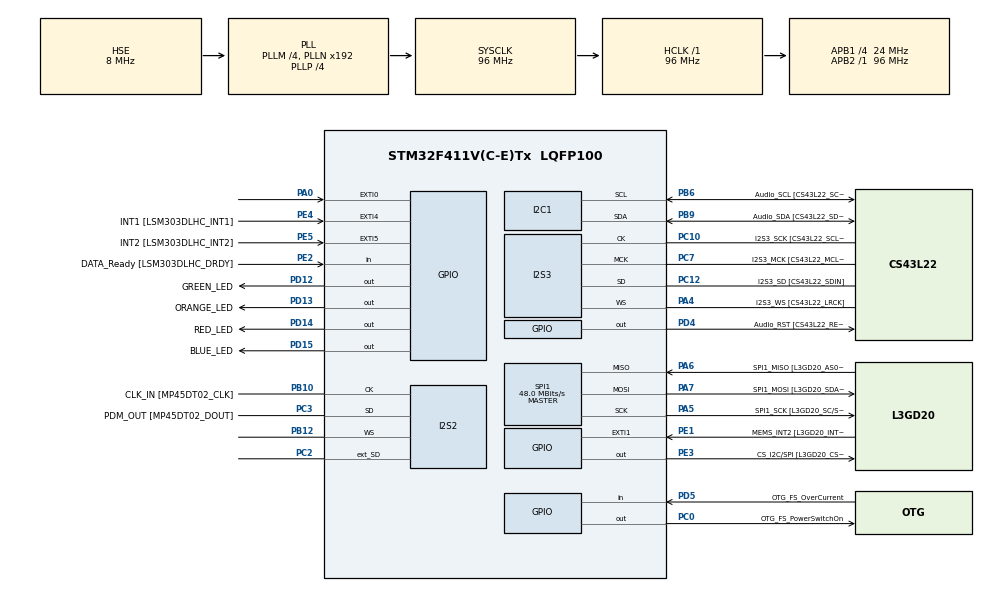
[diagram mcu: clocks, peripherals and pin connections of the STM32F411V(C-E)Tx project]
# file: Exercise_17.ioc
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FREERTOS.BinarySemaphores01=SyncSemaphore_EF,Dynamic,NULL;SyncSema_EF_0,Dynamic,NULL;SyncSema_EF_1,Dynamic,NULL
FREERTOS.Tasks01=GREEN_LED,0,128,Start_GREEN_LED,Default,NULL,Dynamic,NULL,NULL;RED_LED,0,128,Start_RED_LED,Default,NULL,Dynamic,NULL,NULL;BLUE_LED,0,128,Start_BLUE_LED,Default,NULL,Dynamic,NULL,NULL
I2S2.AudioFreq=I2S_AUDIOFREQ_96K
I2S2.ErrorAudioFreq=0.15 %
I2S2.FullDuplexMode=I2S_FULLDUPLEXMODE_ENABLE
I2S2.Instance=SPI$Index
I2S2.RealAudioFreq=96.153 KHz
I2S2.VirtualMode=I2S_MODE_MASTER
I2S3.AudioFreq=I2S_AUDIOFREQ_96K
I2S3.ErrorAudioFreq=-6.99 %
I2S3.FullDuplexMode=I2S_FULLDUPLEXMODE_DISABLE
I2S3.Instance=SPI$Index
I2S3.RealAudioFreq=89.285 KHz
I2S3.VirtualMode=I2S_MODE_MASTER
Mcu.Family=STM32F4
Mcu.Name=STM32F411V(C-E)Tx
Mcu.Package=LQFP100
NVIC.PriorityGroup=NVIC_PRIORITYGROUP_4
NVIC.TIM1_UP_TIM10_IRQn=true\:0\:0\:false\:false\:true\:false\:false\:true
NVIC.TimeBase=TIM1_UP_TIM10_IRQn
NVIC.TimeBaseIP=TIM1
PA0-WKUP.GPIO_ModeDefaultEXTI=GPIO_MODE_EVT_RISING
PA0-WKUP.Signal=GPXTI0
PA10.GPIO_Label=OTG_FS_ID
PA10.Signal=USB_OTG_FS_ID
PA11.GPIO_Label=OTG_FS_DM
PA11.Signal=USB_OTG_FS_DM
PA12.GPIO_Label=OTG_FS_DP
PA12.Signal=USB_OTG_FS_DP
PA13.GPIO_Label=SWDIO
PA13.Mode=Serial_Wire
PA13.Signal=SYS_JTMS-SWDIO
PA14.GPIO_Label=SWCLK
PA14.Mode=Serial_Wire
PA14.Signal=SYS_JTCK-SWCLK
PA4.GPIO_Label=I2S3_WS [CS43L22_LRCK]
PA4.GPIO_Mode=GPIO_MODE_AF_PP
PA4.GPIO_PuPd=GPIO_NOPULL
PA4.GPIO_Speed=GPIO_SPEED_FREQ_LOW
PA4.Mode=Half_Duplex_Master
PA4.Signal=I2S3_WS
PA5.GPIO_Label=SPI1_SCK [L3GD20_SC/SPC]
PA5.Mode=Full_Duplex_Master
PA5.Signal=SPI1_SCK
PA6.GPIO_Label=SPI1_MISO [L3GD20_AS0/SDO]
PA6.Mode=Full_Duplex_Master
PA6.Signal=SPI1_MISO
PA7.GPIO_Label=SPI1_MOSI [L3GD20_SDA/SDI/SDO]
PA7.Mode=Full_Duplex_Master
PA7.Signal=SPI1_MOSI
PA9.GPIO_Label=VBUS_FS
PA9.Signal=USB_OTG_FS_VBUS
PB10.GPIO_Label=CLK_IN [MP45DT02_CLK]
PB10.Mode=Full_Duplex_Master
PB10.Signal=I2S2_CK
PB12.Mode=Full_Duplex_Master
PB12.Signal=I2S2_WS
PB3.GPIO_Label=SWO
PB3.Signal=SYS_JTDO-SWO
PB6.GPIO_Label=Audio_SCL [CS43L22_SCL]
PB6.GPIO_Mode=GPIO_MODE_AF_OD
PB6.GPIO_PuPd=GPIO_NOPULL
PB6.GPIO_Speed=GPIO_SPEED_FREQ_LOW
PB6.Mode=I2C
PB6.Signal=I2C1_SCL
PB9.GPIO_Label=Audio_SDA [CS43L22_SDA]
PB9.GPIO_Mode=GPIO_MODE_AF_OD
PB9.GPIO_PuPd=GPIO_NOPULL
PB9.GPIO_Speed=GPIO_SPEED_FREQ_LOW
PB9.Mode=I2C
PB9.Signal=I2C1_SDA
PC0.GPIO_Label=OTG_FS_PowerSwitchOn
PC0.PinState=GPIO_PIN_SET
PC0.Signal=GPIO_Output
PC10.GPIO_Label=I2S3_SCK [CS43L22_SCLK]
PC10.GPIO_Mode=GPIO_MODE_AF_PP
PC10.GPIO_PuPd=GPIO_NOPULL
PC10.GPIO_Speed=GPIO_SPEED_FREQ_LOW
PC10.Mode=Half_Duplex_Master
PC10.Signal=I2S3_CK
PC12.GPIO_Label=I2S3_SD [CS43L22_SDIN]
PC12.GPIO_Mode=GPIO_MODE_AF_PP
PC12.GPIO_PuPd=GPIO_NOPULL
PC12.GPIO_Speed=GPIO_SPEED_FREQ_LOW
PC12.Mode=Half_Duplex_Master
PC12.Signal=I2S3_SD
PC14-OSC32_IN.GPIO_Label=PC14-OSC32_IN
PC14-OSC32_IN.Mode=LSE-External-Oscillator
PC14-OSC32_IN.Signal=RCC_OSC32_IN
PC15-OSC32_OUT.GPIO_Label=PC15-OSC32_OUT
PC15-OSC32_OUT.Mode=LSE-External-Oscillator
PC15-OSC32_OUT.Signal=RCC_OSC32_OUT
PC2.Mode=Full_Duplex_Master
PC2.Signal=I2S2_ext_SD
PC3.GPIO_Label=PDM_OUT [MP45DT02_DOUT]
PC3.Mode=Full_Duplex_Master
PC3.Signal=I2S2_SD
PC7.GPIO_Label=I2S3_MCK [CS43L22_MCLK]
PC7.GPIO_Mode=GPIO_MODE_AF_PP
PC7.GPIO_PuPd=GPIO_NOPULL
PC7.GPIO_Speed=GPIO_SPEED_FREQ_LOW
PC7.Mode=Master_Clock_Activated
PC7.Signal=I2S3_MCK
PD12.GPIO_Label=GREEN_LED
PD12.GPIO_PuPd=GPIO_NOPULL
PD12.GPIO_Speed=GPIO_SPEED_FREQ_LOW
PD12.Signal=GPIO_Output
PD13.GPIO_Label=ORANGE_LED
PD13.GPIO_PuPd=GPIO_NOPULL
PD13.GPIO_Speed=GPIO_SPEED_FREQ_LOW
PD13.Signal=GPIO_Output
PD14.GPIO_Label=RED_LED
PD14.GPIO_PuPd=GPIO_NOPULL
PD14.GPIO_Speed=GPIO_SPEED_FREQ_LOW
PD14.Signal=GPIO_Output
PD15.GPIO_Label=BLUE_LED
PD15.GPIO_PuPd=GPIO_NOPULL
PD15.GPIO_Speed=GPIO_SPEED_FREQ_LOW
PD15.Signal=GPIO_Output
PD4.GPIO_Label=Audio_RST [CS43L22_RESET]
PD4.Signal=GPIO_Output
PD5.GPIO_Label=OTG_FS_OverCurrent
PD5.Signal=GPIO_Input
PE1.GPIO_Label=MEMS_INT2 [L3GD20_INT2]
PE1.GPIO_ModeDefaultEXTI=GPIO_MODE_EVT_RISING
PE1.Signal=GPXTI1
PE2.GPIO_Label=DATA_Ready [LSM303DLHC_DRDY]
PE2.Signal=GPIO_Input
PE3.GPIO_Label=CS_I2C/SPI [L3GD20_CS_I2C/SPI]
PE3.Signal=GPIO_Output
PE4.GPIO_Label=INT1 [LSM303DLHC_INT1]
PE4.GPIO_ModeDefaultEXTI=GPIO_MODE_EVT_RISING
PE4.Signal=GPXTI4
PE5.GPIO_Label=INT2 [LSM303DLHC_INT2]
PE5.GPIO_ModeDefaultEXTI=GPIO_MODE_EVT_RISING
PE5.Signal=GPXTI5
PH0\ -\ OSC_IN.GPIO_Label=PH0-OSC_IN
PH0\ -\ OSC_IN.Mode=HSE-External-Oscillator
PH0\ -\ OSC_IN.Signal=RCC_OSC_IN
PH1\ -\ OSC_OUT.GPIO_Label=PH1-OSC_OUT
PH1\ -\ OSC_OUT.Mode=HSE-External-Oscillator
PH1\ -\ OSC_OUT.Signal=RCC_OSC_OUT
ProjectManager.HeapSize=0x200
ProjectManager.StackSize=0x400
ProjectManager.TargetToolchain=STM32CubeIDE
RCC.48MHZClocksFreq_Value=48000000
RCC.AHBFreq_Value=96000000
RCC.APB1CLKDivider=RCC_HCLK_DIV4
RCC.APB1Freq_Value=24000000
RCC.APB1TimFreq_Value=48000000
RCC.APB2Freq_Value=96000000
RCC.APB2TimFreq_Value=96000000
RCC.CortexFreq_Value=96000000
RCC.HCLKFreq_Value=96000000
RCC.HSE_VALUE=8000000
RCC.HSI_VALUE=16000000
RCC.PLLI2SM=5
RCC.PLLI2SN=200
RCC.PLLM=4
RCC.PLLP=RCC_PLLP_DIV4
RCC.PLLQ=8
RCC.PLLSourceVirtual=RCC_PLLSOURCE_HSE
RCC.SYSCLKFreq_VALUE=96000000
RCC.SYSCLKSource=RCC_SYSCLKSOURCE_PLLCLK
RCC.VCOOutputFreq_Value=384000000
SPI1.BaudRatePrescaler=SPI_BAUDRATEPRESCALER_2
SPI1.CalculateBaudRate=48.0 MBits/s
SPI1.Direction=SPI_DIRECTION_2LINES
SPI1.Mode=SPI_MODE_MASTER
SPI1.VirtualType=VM_MASTER
VP_FREERTOS_VS_CMSIS_V1.Mode=CMSIS_V1
VP_SYS_VS_tim1.Mode=TIM1
board=STM32F411E-DISCO

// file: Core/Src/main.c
/* USER CODE BEGIN Header */
/**
  ******************************************************************************
  * @file           : main.c
  * @brief          : Main program body
  ******************************************************************************
  * @attention
  *
  * <h2><center>&copy; Copyright (c) 2024 STMicroelectronics.
  * All rights reserved.</center></h2>
  *
  * This software component is licensed by ST under Ultimate Liberty license
  * SLA0044, the "License"; You may not use this file except in compliance with
  * the License. You may obtain a copy of the License at:
  *                             www.st.com/SLA0044
  *
  ******************************************************************************
  */
/* USER CODE END Header */

#include "main.h"
#include "cmsis_os.h"

/* USER CODE BEGIN PD */
#define NUM_TSK_BLK 2
#define SIGNLE_SEMAPHORE 1
/* USER CODE END PD */

I2C_HandleTypeDef hi2c1;

I2S_HandleTypeDef hi2s2;
I2S_HandleTypeDef hi2s3;

SPI_HandleTypeDef hspi1;

osThreadId GREEN_LEDHandle;
osThreadId RED_LEDHandle;
osThreadId BLUE_LEDHandle;
osSemaphoreId SyncSemaphore_EFHandle;
osSemaphoreId SyncSema_EF_0Handle;
osSemaphoreId SyncSema_EF_1Handle;

void SystemClock_Config(void);
static void MX_GPIO_Init(void);
static void MX_I2C1_Init(void);
static void MX_I2S2_Init(void);
static void MX_I2S3_Init(void);
static void MX_SPI1_Init(void);
void Start_GREEN_LED(void const * argument);
void Start_RED_LED(void const * argument);
void Start_BLUE_LED(void const * argument);

/* USER CODE BEGIN 0 */
int CntNumTsk_Blk = 0;

void SyncSemphoreWait(void)
{
  if(NUM_TSK_BLK < CntNumTsk_Blk)
  {
    HAL_GPIO_ReadPin(ORANGE_LED_GPIO_Port, ORANGE_LED_Pin);
    return;
  }
#if SIGNLE_SEMAPHORE == 1
  if(NUM_TSK_BLK > CntNumTsk_Blk)
  {
    CntNumTsk_Blk++;
    osSemaphoreWait(SyncSemaphore_EFHandle, osWaitForever);
  }

  if(0 < CntNumTsk_Blk )
  {
	  CntNumTsk_Blk--;
	  osSemaphoreRelease(SyncSemaphore_EFHandle);
  }
#else
  if(NUM_TSK_BLK > CntNumTsk_Blk)
  {
    CntNumTsk_Blk++;
    switch(CntNumTsk_Blk)
    {
      case 1: osSemaphoreWait(SyncSema_EF_0Handle, osWaitForever); return;
      case 2: osSemaphoreWait(SyncSema_EF_1Handle, osWaitForever); return;
      default: HAL_GPIO_ReadPin(ORANGE_LED_GPIO_Port, ORANGE_LED_Pin);return;
    }
  }

  CntNumTsk_Blk = 0;
  osSemaphoreRelease(SyncSema_EF_0Handle);
  osSemaphoreRelease(SyncSema_EF_1Handle);
#endif

  return;
}
/* USER CODE END 0 */

int main(void)
{

  /* MCU Configuration--------------------------------------------------------*/

  /* Reset of all peripherals, Initializes the Flash interface and the Systick. */
  HAL_Init();

  /* Configure the system clock */
  SystemClock_Config();

  /* Initialize all configured peripherals */
  MX_GPIO_Init();
  MX_I2C1_Init();
  MX_I2S2_Init();
  MX_I2S3_Init();
  MX_SPI1_Init();

#if SIGNLE_SEMAPHORE == 1
  /* Create the semaphores(s) */
  /* definition and creation of SyncSemaphore_EF */
  osSemaphoreDef(SyncSemaphore_EF);
  SyncSemaphore_EFHandle = osSemaphoreCreate(osSemaphore(SyncSemaphore_EF), 1);
#else
  /* definition and creation of SyncSema_EF_0 */
  osSemaphoreDef(SyncSema_EF_0);
  SyncSema_EF_0Handle = osSemaphoreCreate(osSemaphore(SyncSema_EF_0), 1);

  /* definition and creation of SyncSema_EF_1 */
  osSemaphoreDef(SyncSema_EF_1);
  SyncSema_EF_1Handle = osSemaphoreCreate(osSemaphore(SyncSema_EF_1), 1);
#endif
  /* USER CODE BEGIN RTOS_SEMAPHORES */
#if SIGNLE_SEMAPHORE == 1
  osSemaphoreWait(SyncSemaphore_EFHandle, 0);
#else
  osSemaphoreWait(SyncSema_EF_0Handle, 0);
  osSemaphoreWait(SyncSema_EF_1Handle, 0);
#endif
  /* USER CODE END RTOS_SEMAPHORES */

  /* Create the thread(s) */
  /* definition and creation of GREEN_LED */
  osThreadDef(GREEN_LED, Start_GREEN_LED, osPriorityNormal, 0, 128);
  GREEN_LEDHandle = osThreadCreate(osThread(GREEN_LED), NULL);

  /* definition and creation of RED_LED */
  osThreadDef(RED_LED, Start_RED_LED, osPriorityNormal, 0, 128);
  RED_LEDHandle = osThreadCreate(osThread(RED_LED), NULL);

  /* definition and creation of BLUE_LED */
  osThreadDef(BLUE_LED, Start_BLUE_LED, osPriorityNormal, 0, 128);
  BLUE_LEDHandle = osThreadCreate(osThread(BLUE_LED), NULL);

  /* Start scheduler */
  osKernelStart();

  /* We should never get here as control is now taken by the scheduler */

  /* Infinite loop */
  while (1)
  {

  }
}

void SystemClock_Config(void)
{
  RCC_OscInitTypeDef RCC_OscInitStruct = {0};
  RCC_ClkInitTypeDef RCC_ClkInitStruct = {0};
  RCC_PeriphCLKInitTypeDef PeriphClkInitStruct = {0};

  /** Configure the main internal regulator output voltage
  */
  __HAL_RCC_PWR_CLK_ENABLE();
  __HAL_PWR_VOLTAGESCALING_CONFIG(PWR_REGULATOR_VOLTAGE_SCALE1);
  /** Initializes the CPU, AHB and APB busses clocks
  */
  RCC_OscInitStruct.OscillatorType = RCC_OSCILLATORTYPE_HSE;
  RCC_OscInitStruct.HSEState = RCC_HSE_ON;
  RCC_OscInitStruct.PLL.PLLState = RCC_PLL_ON;
  RCC_OscInitStruct.PLL.PLLSource = RCC_PLLSOURCE_HSE;
  RCC_OscInitStruct.PLL.PLLM = 4;
  RCC_OscInitStruct.PLL.PLLN = 192;
  RCC_OscInitStruct.PLL.PLLP = RCC_PLLP_DIV4;
  RCC_OscInitStruct.PLL.PLLQ = 8;
  if (HAL_RCC_OscConfig(&RCC_OscInitStruct) != HAL_OK)
  {
    Error_Handler();
  }
  /** Initializes the CPU, AHB and APB busses clocks
  */
  RCC_ClkInitStruct.ClockType = RCC_CLOCKTYPE_HCLK|RCC_CLOCKTYPE_SYSCLK
                              |RCC_CLOCKTYPE_PCLK1|RCC_CLOCKTYPE_PCLK2;
  RCC_ClkInitStruct.SYSCLKSource = RCC_SYSCLKSOURCE_PLLCLK;
  RCC_ClkInitStruct.AHBCLKDivider = RCC_SYSCLK_DIV1;
  RCC_ClkInitStruct.APB1CLKDivider = RCC_HCLK_DIV4;
  RCC_ClkInitStruct.APB2CLKDivider = RCC_HCLK_DIV1;

  if (HAL_RCC_ClockConfig(&RCC_ClkInitStruct, FLASH_LATENCY_3) != HAL_OK)
  {
    Error_Handler();
  }
  PeriphClkInitStruct.PeriphClockSelection = RCC_PERIPHCLK_I2S;
  PeriphClkInitStruct.PLLI2S.PLLI2SN = 200;
  PeriphClkInitStruct.PLLI2S.PLLI2SM = 5;
  PeriphClkInitStruct.PLLI2S.PLLI2SR = 2;
  if (HAL_RCCEx_PeriphCLKConfig(&PeriphClkInitStruct) != HAL_OK)
  {
    Error_Handler();
  }
}

static void MX_I2C1_Init(void)
{

  hi2c1.Instance = I2C1;
  hi2c1.Init.ClockSpeed = 100000;
  hi2c1.Init.DutyCycle = I2C_DUTYCYCLE_2;
  hi2c1.Init.OwnAddress1 = 0;
  hi2c1.Init.AddressingMode = I2C_ADDRESSINGMODE_7BIT;
  hi2c1.Init.DualAddressMode = I2C_DUALADDRESS_DISABLE;
  hi2c1.Init.OwnAddress2 = 0;
  hi2c1.Init.GeneralCallMode = I2C_GENERALCALL_DISABLE;
  hi2c1.Init.NoStretchMode = I2C_NOSTRETCH_DISABLE;
  if (HAL_I2C_Init(&hi2c1) != HAL_OK)
  {
    Error_Handler();
  }

}

static void MX_I2S2_Init(void)
{

  hi2s2.Instance = SPI2;
  hi2s2.Init.Mode = I2S_MODE_MASTER_TX;
  hi2s2.Init.Standard = I2S_STANDARD_PHILIPS;
  hi2s2.Init.DataFormat = I2S_DATAFORMAT_16B;
  hi2s2.Init.MCLKOutput = I2S_MCLKOUTPUT_DISABLE;
  hi2s2.Init.AudioFreq = I2S_AUDIOFREQ_96K;
  hi2s2.Init.CPOL = I2S_CPOL_LOW;
  hi2s2.Init.ClockSource = I2S_CLOCK_PLL;
  hi2s2.Init.FullDuplexMode = I2S_FULLDUPLEXMODE_ENABLE;
  if (HAL_I2S_Init(&hi2s2) != HAL_OK)
  {
    Error_Handler();
  }

}

static void MX_I2S3_Init(void)
{

  hi2s3.Instance = SPI3;
  hi2s3.Init.Mode = I2S_MODE_MASTER_TX;
  hi2s3.Init.Standard = I2S_STANDARD_PHILIPS;
  hi2s3.Init.DataFormat = I2S_DATAFORMAT_16B;
  hi2s3.Init.MCLKOutput = I2S_MCLKOUTPUT_ENABLE;
  hi2s3.Init.AudioFreq = I2S_AUDIOFREQ_96K;
  hi2s3.Init.CPOL = I2S_CPOL_LOW;
  hi2s3.Init.ClockSource = I2S_CLOCK_PLL;
  hi2s3.Init.FullDuplexMode = I2S_FULLDUPLEXMODE_DISABLE;
  if (HAL_I2S_Init(&hi2s3) != HAL_OK)
  {
    Error_Handler();
  }

}

static void MX_SPI1_Init(void)
{

  /* SPI1 parameter configuration*/
  hspi1.Instance = SPI1;
  hspi1.Init.Mode = SPI_MODE_MASTER;
  hspi1.Init.Direction = SPI_DIRECTION_2LINES;
  hspi1.Init.DataSize = SPI_DATASIZE_8BIT;
  hspi1.Init.CLKPolarity = SPI_POLARITY_LOW;
  hspi1.Init.CLKPhase = SPI_PHASE_1EDGE;
  hspi1.Init.NSS = SPI_NSS_SOFT;
  hspi1.Init.BaudRatePrescaler = SPI_BAUDRATEPRESCALER_2;
  hspi1.Init.FirstBit = SPI_FIRSTBIT_MSB;
  hspi1.Init.TIMode = SPI_TIMODE_DISABLE;
  hspi1.Init.CRCCalculation = SPI_CRCCALCULATION_DISABLE;
  hspi1.Init.CRCPolynomial = 10;
  if (HAL_SPI_Init(&hspi1) != HAL_OK)
  {
    Error_Handler();
  }

}

static void MX_GPIO_Init(void)
{
  GPIO_InitTypeDef GPIO_InitStruct = {0};

  /* GPIO Ports Clock Enable */
  __HAL_RCC_GPIOE_CLK_ENABLE();
  __HAL_RCC_GPIOC_CLK_ENABLE();
  __HAL_RCC_GPIOH_CLK_ENABLE();
  __HAL_RCC_GPIOA_CLK_ENABLE();
  __HAL_RCC_GPIOB_CLK_ENABLE();
  __HAL_RCC_GPIOD_CLK_ENABLE();

  /*Configure GPIO pin Output Level */
  HAL_GPIO_WritePin(CS_I2C_SPI_GPIO_Port, CS_I2C_SPI_Pin, GPIO_PIN_RESET);

  /*Configure GPIO pin Output Level */
  HAL_GPIO_WritePin(OTG_FS_PowerSwitchOn_GPIO_Port, OTG_FS_PowerSwitchOn_Pin, GPIO_PIN_SET);

  /*Configure GPIO pin Output Level */
  HAL_GPIO_WritePin(GPIOD, GREEN_LED_Pin|ORANGE_LED_Pin|RED_LED_Pin|BLUE_LED_Pin
                          |Audio_RST_Pin, GPIO_PIN_RESET);

  /*Configure GPIO pin : DATA_Ready_Pin */
  GPIO_InitStruct.Pin = DATA_Ready_Pin;
  GPIO_InitStruct.Mode = GPIO_MODE_INPUT;
  GPIO_InitStruct.Pull = GPIO_NOPULL;
  HAL_GPIO_Init(DATA_Ready_GPIO_Port, &GPIO_InitStruct);

  /*Configure GPIO pin : CS_I2C_SPI_Pin */
  GPIO_InitStruct.Pin = CS_I2C_SPI_Pin;
  GPIO_InitStruct.Mode = GPIO_MODE_OUTPUT_PP;
  GPIO_InitStruct.Pull = GPIO_NOPULL;
  GPIO_InitStruct.Speed = GPIO_SPEED_FREQ_LOW;
  HAL_GPIO_Init(CS_I2C_SPI_GPIO_Port, &GPIO_InitStruct);

  /*Configure GPIO pins : INT1_Pin INT2_Pin MEMS_INT2_Pin */
  GPIO_InitStruct.Pin = INT1_Pin|INT2_Pin|MEMS_INT2_Pin;
  GPIO_InitStruct.Mode = GPIO_MODE_EVT_RISING;
  GPIO_InitStruct.Pull = GPIO_NOPULL;
  HAL_GPIO_Init(GPIOE, &GPIO_InitStruct);

  /*Configure GPIO pin : OTG_FS_PowerSwitchOn_Pin */
  GPIO_InitStruct.Pin = OTG_FS_PowerSwitchOn_Pin;
  GPIO_InitStruct.Mode = GPIO_MODE_OUTPUT_PP;
  GPIO_InitStruct.Pull = GPIO_NOPULL;
  GPIO_InitStruct.Speed = GPIO_SPEED_FREQ_LOW;
  HAL_GPIO_Init(OTG_FS_PowerSwitchOn_GPIO_Port, &GPIO_InitStruct);

  /*Configure GPIO pin : PA0 */
  GPIO_InitStruct.Pin = GPIO_PIN_0;
  GPIO_InitStruct.Mode = GPIO_MODE_EVT_RISING;
  GPIO_InitStruct.Pull = GPIO_NOPULL;
  HAL_GPIO_Init(GPIOA, &GPIO_InitStruct);

  /*Configure GPIO pins : GREEN_LED_Pin ORANGE_LED_Pin RED_LED_Pin BLUE_LED_Pin
                           Audio_RST_Pin */
  GPIO_InitStruct.Pin = GREEN_LED_Pin|ORANGE_LED_Pin|RED_LED_Pin|BLUE_LED_Pin
                          |Audio_RST_Pin;
  GPIO_InitStruct.Mode = GPIO_MODE_OUTPUT_PP;
  GPIO_InitStruct.Pull = GPIO_NOPULL;
  GPIO_InitStruct.Speed = GPIO_SPEED_FREQ_LOW;
  HAL_GPIO_Init(GPIOD, &GPIO_InitStruct);

  /*Configure GPIO pin : VBUS_FS_Pin */
  GPIO_InitStruct.Pin = VBUS_FS_Pin;
  GPIO_InitStruct.Mode = GPIO_MODE_INPUT;
  GPIO_InitStruct.Pull = GPIO_NOPULL;
  HAL_GPIO_Init(VBUS_FS_GPIO_Port, &GPIO_InitStruct);

  /*Configure GPIO pins : OTG_FS_ID_Pin OTG_FS_DM_Pin OTG_FS_DP_Pin */
  GPIO_InitStruct.Pin = OTG_FS_ID_Pin|OTG_FS_DM_Pin|OTG_FS_DP_Pin;
  GPIO_InitStruct.Mode = GPIO_MODE_AF_PP;
  GPIO_InitStruct.Pull = GPIO_NOPULL;
  GPIO_InitStruct.Speed = GPIO_SPEED_FREQ_VERY_HIGH;
  GPIO_InitStruct.Alternate = GPIO_AF10_OTG_FS;
  HAL_GPIO_Init(GPIOA, &GPIO_InitStruct);

  /*Configure GPIO pin : OTG_FS_OverCurrent_Pin */
  GPIO_InitStruct.Pin = OTG_FS_OverCurrent_Pin;
  GPIO_InitStruct.Mode = GPIO_MODE_INPUT;
  GPIO_InitStruct.Pull = GPIO_NOPULL;
  HAL_GPIO_Init(OTG_FS_OverCurrent_GPIO_Port, &GPIO_InitStruct);

}

void Start_GREEN_LED(void const * argument)
{
  /* USER CODE BEGIN 5 */
  int delay_cnt[] = {12000,20000,8000};
  int freq_cnt[] = {50,500,100};
  /* Infinite loop */
  for(;;)
  {
    for(int i = 0; i < 3 ; i++ )
    {
      for(int j = 0 ; j < delay_cnt[i]/freq_cnt[i]; j++)
      {
    	HAL_GPIO_TogglePin(GREEN_LED_GPIO_Port, GREEN_LED_Pin);
    	osDelay(freq_cnt[i]);
      }
      SyncSemphoreWait();
    }
  }
  /* USER CODE END 5 */
}

void Start_RED_LED(void const * argument)
{
  /* USER CODE BEGIN Start_RED_LED */
  int delay_cnt[] = {20000,8000,20000};
  int freq_cnt[] = {50,500,100};
  /* Infinite loop */
  for(;;)
  {
    for(int i = 0; i < 3 ; i++ )
    {
      for(int j = 0 ; j < delay_cnt[i]/freq_cnt[i]; j++)
      {
        HAL_GPIO_TogglePin(RED_LED_GPIO_Port, RED_LED_Pin);
        osDelay(freq_cnt[i]);
      }
      SyncSemphoreWait();
    }
  }
  /* USER CODE END Start_RED_LED */
}

void Start_BLUE_LED(void const * argument)
{
  /* USER CODE BEGIN Start_BLUE_LED */
  int delay_cnt[] = {8000,12000,12000};
  int freq_cnt[] = {50,500,100};
  /* Infinite loop */
  for(;;)
  {
    for(int i = 0; i < 3 ; i++ )
    {
      for(int j = 0 ; j < delay_cnt[i]/freq_cnt[i]; j++)
      {
        HAL_GPIO_TogglePin(BLUE_LED_GPIO_Port, BLUE_LED_Pin);
        osDelay(freq_cnt[i]);
      }
      SyncSemphoreWait();
    }
  }
  /* USER CODE END Start_BLUE_LED */
}

void HAL_TIM_PeriodElapsedCallback(TIM_HandleTypeDef *htim)
{
  if (htim->Instance == TIM1) {
    HAL_IncTick();
  }
}

void Error_Handler(void)
{
}

/************************ (C) COPYRIGHT STMicroelectronics *****END OF FILE****/
